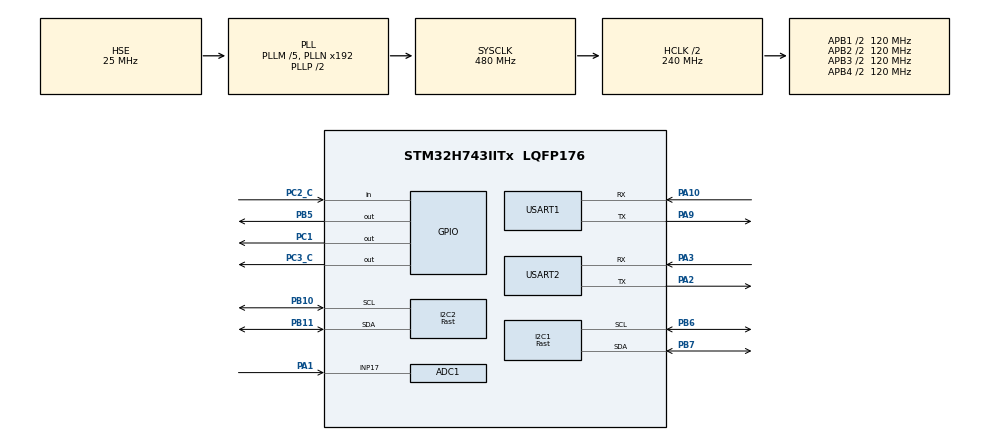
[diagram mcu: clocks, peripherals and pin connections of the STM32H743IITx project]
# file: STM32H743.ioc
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ADC1.Channel-3\#ChannelRegularConversion=ADC_CHANNEL_17
ADC1.ClockPrescaler=ADC_CLOCK_ASYNC_DIV4
ADC1.ContinuousConvMode=ENABLE
ADC1.ConversionDataManagement=ADC_CONVERSIONDATA_DMA_CIRCULAR
ADC1.NbrOfConversionFlag=1
ADC1.OffsetNumber-3\#ChannelRegularConversion=ADC_OFFSET_NONE
ADC1.OffsetSignedSaturation-3\#ChannelRegularConversion=DISABLE
ADC1.Overrun=ADC_OVR_DATA_OVERWRITTEN
ADC1.OversamplingMode=DISABLE
ADC1.Rank-3\#ChannelRegularConversion=1
ADC1.Resolution=ADC_RESOLUTION_12B
ADC1.SamplingTime-3\#ChannelRegularConversion=ADC_SAMPLETIME_810CYCLES_5
ADC1.master=1
CORTEX_M7.AccessPermission_S-Cortex_Memory_Protection_Unit_Region1_Settings_S=MPU_REGION_FULL_ACCESS
CORTEX_M7.AccessPermission_S-Cortex_Memory_Protection_Unit_Region2_Settings_S=MPU_REGION_FULL_ACCESS
CORTEX_M7.AccessPermission_S-Cortex_Memory_Protection_Unit_Region4_Settings_S=MPU_REGION_FULL_ACCESS
CORTEX_M7.AccessPermission_S-Cortex_Memory_Protection_Unit_Region5_Settings_S=MPU_REGION_FULL_ACCESS
CORTEX_M7.AccessPermission_S-Cortex_Memory_Protection_Unit_Region6_Settings_S=MPU_REGION_FULL_ACCESS
CORTEX_M7.AccessPermission_Spec=MPU_REGION_FULL_ACCESS
CORTEX_M7.BaseAddress_S-Cortex_Memory_Protection_Unit_Region1_Settings_S=0x24000000
CORTEX_M7.BaseAddress_S-Cortex_Memory_Protection_Unit_Region2_Settings_S=0x30000000
CORTEX_M7.BaseAddress_S-Cortex_Memory_Protection_Unit_Region3_Settings_S=0x38000000
CORTEX_M7.BaseAddress_S-Cortex_Memory_Protection_Unit_Region4_Settings_S=0x60000000
CORTEX_M7.BaseAddress_S-Cortex_Memory_Protection_Unit_Region5_Settings_S=0xC0000000
CORTEX_M7.BaseAddress_S-Cortex_Memory_Protection_Unit_Region6_Settings_S=0x80000000
CORTEX_M7.BaseAddress_Spec=0x20000000
CORTEX_M7.CPU_DCache=Enabled
CORTEX_M7.CPU_ICache=Enabled
CORTEX_M7.DisableExec_Spec=MPU_INSTRUCTION_ACCESS_ENABLE
CORTEX_M7.Enable_S-Cortex_Memory_Protection_Unit_Region1_Settings_S=MPU_REGION_ENABLE
CORTEX_M7.Enable_S-Cortex_Memory_Protection_Unit_Region2_Settings_S=MPU_REGION_ENABLE
CORTEX_M7.Enable_S-Cortex_Memory_Protection_Unit_Region3_Settings_S=MPU_REGION_ENABLE
CORTEX_M7.Enable_S-Cortex_Memory_Protection_Unit_Region4_Settings_S=MPU_REGION_ENABLE
CORTEX_M7.Enable_S-Cortex_Memory_Protection_Unit_Region5_Settings_S=MPU_REGION_ENABLE
CORTEX_M7.Enable_S-Cortex_Memory_Protection_Unit_Region6_Settings_S=MPU_REGION_ENABLE
CORTEX_M7.IsBufferable_S-Cortex_Memory_Protection_Unit_Region2_Settings_S=MPU_ACCESS_BUFFERABLE
CORTEX_M7.IsBufferable_S-Cortex_Memory_Protection_Unit_Region3_Settings_S=MPU_ACCESS_NOT_BUFFERABLE
CORTEX_M7.IsBufferable_S-Cortex_Memory_Protection_Unit_Region5_Settings_S=MPU_ACCESS_BUFFERABLE
CORTEX_M7.IsBufferable_Spec=MPU_ACCESS_BUFFERABLE
CORTEX_M7.IsCacheable_S-Cortex_Memory_Protection_Unit_Region1_Settings_S=MPU_ACCESS_CACHEABLE
CORTEX_M7.IsCacheable_S-Cortex_Memory_Protection_Unit_Region2_Settings_S=MPU_ACCESS_CACHEABLE
CORTEX_M7.IsCacheable_S-Cortex_Memory_Protection_Unit_Region3_Settings_S=MPU_ACCESS_CACHEABLE
CORTEX_M7.IsCacheable_S-Cortex_Memory_Protection_Unit_Region5_Settings_S=MPU_ACCESS_CACHEABLE
CORTEX_M7.IsCacheable_Spec=MPU_ACCESS_CACHEABLE
CORTEX_M7.IsShareable_S-Cortex_Memory_Protection_Unit_Region1_Settings_S=MPU_ACCESS_SHAREABLE
CORTEX_M7.IsShareable_Spec=MPU_ACCESS_NOT_SHAREABLE
CORTEX_M7.MPU_Control=MPU_PRIVILEGED_DEFAULT
CORTEX_M7.Size_S-Cortex_Memory_Protection_Unit_Region1_Settings_S=MPU_REGION_SIZE_512KB
CORTEX_M7.Size_S-Cortex_Memory_Protection_Unit_Region2_Settings_S=MPU_REGION_SIZE_512KB
CORTEX_M7.Size_S-Cortex_Memory_Protection_Unit_Region3_Settings_S=MPU_REGION_SIZE_64KB
CORTEX_M7.Size_S-Cortex_Memory_Protection_Unit_Region4_Settings_S=MPU_REGION_SIZE_256MB
CORTEX_M7.Size_S-Cortex_Memory_Protection_Unit_Region5_Settings_S=MPU_REGION_SIZE_32MB
CORTEX_M7.Size_S-Cortex_Memory_Protection_Unit_Region6_Settings_S=MPU_REGION_SIZE_256MB
CORTEX_M7.Size_Spec=MPU_REGION_SIZE_128KB
CORTEX_M7.SubRegionDisable_Spec=0x0
CORTEX_M7.default_mode_Activation=1
Dma.ADC1.0.Direction=DMA_PERIPH_TO_MEMORY
Dma.ADC1.0.EventEnable=DISABLE
Dma.ADC1.0.FIFOMode=DMA_FIFOMODE_DISABLE
Dma.ADC1.0.Instance=DMA1_Stream0
Dma.ADC1.0.MemDataAlignment=DMA_MDATAALIGN_HALFWORD
Dma.ADC1.0.MemInc=DMA_MINC_ENABLE
Dma.ADC1.0.Mode=DMA_CIRCULAR
Dma.ADC1.0.PeriphDataAlignment=DMA_PDATAALIGN_HALFWORD
Dma.ADC1.0.PeriphInc=DMA_PINC_DISABLE
Dma.ADC1.0.Polarity=HAL_DMAMUX_REQ_GEN_RISING
Dma.ADC1.0.Priority=DMA_PRIORITY_HIGH
Dma.ADC1.0.RequestNumber=1
Dma.ADC1.0.SignalID=NONE
Dma.ADC1.0.SyncEnable=DISABLE
Dma.ADC1.0.SyncPolarity=HAL_DMAMUX_SYNC_NO_EVENT
Dma.ADC1.0.SyncRequestNumber=1
Dma.ADC1.0.SyncSignalID=NONE
Dma.I2C1_RX.1.Direction=DMA_PERIPH_TO_MEMORY
Dma.I2C1_RX.1.EventEnable=DISABLE
Dma.I2C1_RX.1.FIFOMode=DMA_FIFOMODE_DISABLE
Dma.I2C1_RX.1.Instance=DMA1_Stream1
Dma.I2C1_RX.1.MemDataAlignment=DMA_MDATAALIGN_BYTE
Dma.I2C1_RX.1.MemInc=DMA_MINC_ENABLE
Dma.I2C1_RX.1.Mode=DMA_NORMAL
Dma.I2C1_RX.1.PeriphDataAlignment=DMA_PDATAALIGN_BYTE
Dma.I2C1_RX.1.PeriphInc=DMA_PINC_DISABLE
Dma.I2C1_RX.1.Polarity=HAL_DMAMUX_REQ_GEN_RISING
Dma.I2C1_RX.1.Priority=DMA_PRIORITY_MEDIUM
Dma.I2C1_RX.1.RequestNumber=1
Dma.I2C1_RX.1.SignalID=NONE
Dma.I2C1_RX.1.SyncEnable=DISABLE
Dma.I2C1_RX.1.SyncPolarity=HAL_DMAMUX_SYNC_NO_EVENT
Dma.I2C1_RX.1.SyncRequestNumber=1
Dma.I2C1_RX.1.SyncSignalID=NONE
Dma.Request0=ADC1
Dma.Request1=I2C1_RX
FREERTOS.Queues01=MAX30102_Queue,16,uint16_t,0,Dynamic,NULL,NULL
FREERTOS.Tasks01=MPUT6050Task,26,512,MPUT6050_Task,Default,NULL,Dynamic,NULL,NULL;MAX30102_Task,24,512,MAX30102_Tasks,Default,NULL,Dynamic,NULL,NULL;Fusion_Task,25,512,FusionTasks,Default,NULL,Dynamic,NULL,NULL
I2C1.I2C_Speed_Mode=I2C_Fast
I2C1.Timing=0x00B03FDB
I2C2.CustomTiming=Disabled
I2C2.I2C_Speed_Mode=I2C_Fast
I2C2.Timing=0x00B03FDB
Mcu.Family=STM32H7
Mcu.Name=STM32H743IITx
Mcu.Package=LQFP176
NVIC.I2C1_ER_IRQn=true\:5\:0\:false\:false\:true\:true\:true\:true\:true
NVIC.I2C1_EV_IRQn=true\:5\:0\:false\:false\:true\:true\:true\:true\:true
NVIC.PriorityGroup=NVIC_PRIORITYGROUP_4
NVIC.TIM2_IRQn=true\:5\:0\:false\:false\:true\:true\:true\:true\:true
NVIC.TIM6_DAC_IRQn=true\:15\:0\:false\:false\:true\:false\:false\:true\:true
NVIC.TimeBase=TIM6_DAC_IRQn
NVIC.TimeBaseIP=TIM6
PA1.Mode=IN17-Single-Ended
PA1.Signal=ADC1_INP17
PA10.GPIO_ModeDefaultPP=GPIO_MODE_AF_PP
PA10.Mode=Asynchronous
PA10.Signal=USART1_RX
PA13\ (JTMS/SWDIO).Mode=Serial_Wire
PA13\ (JTMS/SWDIO).Signal=DEBUG_JTMS-SWDIO
PA14\ (JTCK/SWCLK).Mode=Serial_Wire
PA14\ (JTCK/SWCLK).Signal=DEBUG_JTCK-SWCLK
PA2.Mode=Asynchronous
PA2.Signal=USART2_TX
PA3.Mode=Asynchronous
PA3.Signal=USART2_RX
PA9.Mode=Asynchronous
PA9.Signal=USART1_TX
PB10.GPIO_Mode=GPIO_MODE_AF_OD
PB10.GPIO_Pu=GPIO_PULLUP
PB10.GPIO_Speed=GPIO_SPEED_FREQ_HIGH
PB10.Mode=I2C
PB10.Signal=I2C2_SCL
PB11.GPIO_Mode=GPIO_MODE_AF_OD
PB11.GPIO_Pu=GPIO_PULLUP
PB11.GPIO_Speed=GPIO_SPEED_FREQ_HIGH
PB11.Mode=I2C
PB11.Signal=I2C2_SDA
PB5.Signal=GPIO_Output
PB6.Mode=I2C
PB6.Signal=I2C1_SCL
PB7.Mode=I2C
PB7.Signal=I2C1_SDA
PC1.Signal=GPIO_Output
PC14-OSC32_IN\ (OSC32_IN).Mode=LSE-External-Oscillator
PC14-OSC32_IN\ (OSC32_IN).Signal=RCC_OSC32_IN
PC15-OSC32_OUT\ (OSC32_OUT).Mode=LSE-External-Oscillator
PC15-OSC32_OUT\ (OSC32_OUT).Signal=RCC_OSC32_OUT
PC2_C.Signal=GPIO_Input
PC3_C.GPIO_Speed=GPIO_SPEED_FREQ_HIGH
PC3_C.PinState=GPIO_PIN_SET
PC3_C.Signal=GPIO_Output
PH0-OSC_IN\ (PH0).Mode=HSE-External-Oscillator
PH0-OSC_IN\ (PH0).Signal=RCC_OSC_IN
PH1-OSC_OUT\ (PH1).Mode=HSE-External-Oscillator
PH1-OSC_OUT\ (PH1).Signal=RCC_OSC_OUT
ProjectManager.HeapSize=0x200
ProjectManager.StackSize=0x400
ProjectManager.TargetToolchain=CMake
RCC.ADCFreq_Value=100000000
RCC.APB1Freq_Value=120000000
RCC.APB2Freq_Value=120000000
RCC.APB3Freq_Value=120000000
RCC.APB4Freq_Value=120000000
RCC.CortexFreq_Value=480000000
RCC.D1PPRE=RCC_APB3_DIV2
RCC.D2PPRE1=RCC_APB1_DIV2
RCC.D2PPRE2=RCC_APB2_DIV2
RCC.D3PPRE=RCC_APB4_DIV2
RCC.DIVM1=5
RCC.DIVM2=5
RCC.DIVN1=192
RCC.DIVN2=60
RCC.DIVP2=3
RCC.HCLKFreq_Value=240000000
RCC.HPRE=RCC_HCLK_DIV2
RCC.PLLSourceVirtual=RCC_PLLSOURCE_HSE
RCC.SYSCLKFreq_VALUE=480000000
RCC.SYSCLKSource=RCC_SYSCLKSOURCE_PLLCLK
RCC.USBFreq_Value=480000000
TIM2.Period=999
TIM2.Prescaler=39999
USART1.VirtualMode-Asynchronous=VM_ASYNC
USART2.VirtualMode-Asynchronous=VM_ASYNC
VP_FREERTOS_VS_CMSIS_V2.Mode=CMSIS_V2
VP_MEMORYMAP_VS_MEMORYMAP.Mode=CurAppReg
VP_SYS_VS_tim6.Mode=TIM6
VP_TIM2_VS_ClockSourceINT.Mode=Internal
board=custom

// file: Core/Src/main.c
/* USER CODE BEGIN Header */
/**
  ******************************************************************************
  * @file           : main.c
  * @brief          : Main program body
  ******************************************************************************
  * @attention
  *
  * Copyright (c) 2025 STMicroelectronics.
  * All rights reserved.
  *
  * This software is licensed under terms that can be found in the LICENSE file
  * in the root directory of this software component.
  * If no LICENSE file comes with this software, it is provided AS-IS.
  *
  ******************************************************************************
  */
/* USER CODE END Header */
#include "main.h"
#include "cmsis_os.h"
#include "adc.h"
#include "dma.h"
#include "i2c.h"
#include "tim.h"
#include "usart.h"
#include "gpio.h"

/* USER CODE BEGIN Includes */
#include "MPU6050.h"
#include "MAX30102.h"
#include <stdlib.h>
#include "stdio.h"
#include <string.h>
/* USER CODE END Includes */

/* USER CODE BEGIN PM */
extern I2C_HandleTypeDef hi2c1;
/* USER CODE END PM */

/* USER CODE BEGIN PV */
// 使用AXI SRAM的绝对地址 - DMA2可以访问的区域
// #define AXI_SRAM_BASE 0x24000000
// volatile uint16_t *adc_buffer = (volatile uint16_t*)AXI_SRAM_BASE;
MAX30102_Data_t max30102_data;
int32_t heart_rate = 0;
int32_t spo2 = 0;
int8_t hr_valid = 0;
int8_t spo2_valid = 0;
char uart_buffer[32];

int _write(int file, char *ptr, int len)
{
    (void)file;
    HAL_UART_Transmit(&huart1, (uint8_t*)ptr, len, HAL_MAX_DELAY);
    return len;
}
/* USER CODE END PV */

void SystemClock_Config(void);
static void MPU_Config(void);
void MX_FREERTOS_Init(void);
/* USER CODE BEGIN PFP */
// 增强版心率滤波
/* USER CODE BEGIN PFP */
// 心率滤波函数（支持运动/静息模式）
// int32_t simple_hr_with_exercise(int32_t raw_hr)
// {
//     static int32_t smoothed = 85;
//     static int32_t last_hr = 85;
//     static uint8_t exercise_mode = 0;

//     // 有效性检查
//     if(raw_hr < 50 || raw_hr > 180) return smoothed;

//     // 检测是否在运动（心率持续高于100）
//     static uint8_t high_hr_count = 0;
//     if(raw_hr > 110)
//     {
//         high_hr_count++;
//         if(high_hr_count > 6)  // 持续高心率
//         {
//             exercise_mode = 1;
//         }
//     }
//     else
//     {
//         high_hr_count = 0;
//         if(raw_hr < 90)  // 低心率持续
//         {
//             exercise_mode = 0;
//         }
//     }

//     // 根据模式选择滤波强度
//     if(exercise_mode)
//     {
//         // 运动模式：弱滤波，快速响应 (alpha=0.75)
//         smoothed = (raw_hr * 3 + smoothed) / 4;
//     }
//     else
//     {
//         // 静息模式：强滤波，稳定 (alpha=0.125)
//         smoothed = (raw_hr + smoothed * 7) / 8;
//     }

//     last_hr = raw_hr;
//     return smoothed;
// }

// // 血氧滤波函数
// int32_t spo2_filter(int32_t raw_spo2)
// {
//     static int32_t smoothed = 98;

//     // 有效性检查
//     if(raw_spo2 < 70 || raw_spo2 > 100) return smoothed;

//     // 强滤波保持稳定 (alpha=0.2)
//     smoothed = (raw_spo2 + smoothed * 4) / 5;

//     return smoothed;
// }

// // 信号质量检测
// uint8_t check_signal_quality(uint32_t *ir_data, uint16_t count)
// {
//     if(count < 10) return 0;

//     // 检查最近10个点的变化
//     uint32_t min_val = 0xFFFFFFFF;
//     uint32_t max_val = 0;

//     int start_idx = (count > 10) ? (count - 10) : 0;

//     for(int i = start_idx; i < count; i++)
//     {
//         if(ir_data[i] < min_val) min_val = ir_data[i];
//         if(ir_data[i] > max_val) max_val = ir_data[i];
//     }

//     uint32_t amplitude = max_val - min_val;

//     // 如果信号变化太小，认为没有手指
//     if(amplitude < 50)
//     {
//         return 0;  // 信号差
//     }

//     return 1;  // 信号好
// }
/* USER CODE END PFP */

int main(void)
{

  /* MPU Configuration--------------------------------------------------------*/
  MPU_Config();

  /* Enable the CPU Cache */

  /* Enable I-Cache---------------------------------------------------------*/
  SCB_EnableICache();

  /* Enable D-Cache---------------------------------------------------------*/
  SCB_EnableDCache();

  /* MCU Configuration--------------------------------------------------------*/

  /* Reset of all peripherals, Initializes the Flash interface and the Systick. */
  HAL_Init();

  /* Configure the system clock */
  SystemClock_Config();

  /* Initialize all configured peripherals */
  MX_GPIO_Init();
  MX_DMA_Init();
  MX_I2C2_Init();
  MX_ADC1_Init();
  MX_USART1_UART_Init();
  MX_TIM2_Init();
  MX_USART2_UART_Init();
  MX_I2C1_Init();
  /* USER CODE BEGIN 2 */
   printf("MAX30102 心率血氧监测开始...\r\n");

    /* MAX30102初始化 */
    MAX30102_Init(&hi2c1);
    MAX30102_InitData(&max30102_data);

    printf("传感器初始化完成\r\n");
  // printf("=== H7 ADC DMA测试（AXI SRAM绝对地址）===\r\n");
  // printf("缓冲区地址: 0x%08lX\r\n", (unsigned long)adc_buffer);

  // // 验证地址是否正确在AXI SRAM域
  // uint32_t addr = (uint32_t)adc_buffer;
  // if(addr >= 0x24000000 && addr < 0x24080000) {
  //     printf("✅ 缓冲区在AXI SRAM域，DMA2可以访问\r\n");
  // } else {
  //     printf("❌ 缓冲区地址错误！\r\n");
  //     Error_Handler();
  // }

  // // 初始化缓冲区
  // *adc_buffer = 0xAAAA;  // 设置初始值用于测试
  // printf("初始缓冲区值: 0x%04X\r\n", (unsigned int)*adc_buffer);

  // // 清理AXI SRAM域缓存
  // SCB_CleanDCache_by_Addr((uint32_t*)adc_buffer, sizeof(uint16_t));

  // // 重置为0
  // *adc_buffer = 0;

  // // 执行H7 ADC校准
  // printf("执行ADC校准...\r\n");
  // if(HAL_ADCEx_Calibration_Start(&hadc1, ADC_CALIB_OFFSET_LINEARITY, ADC_SINGLE_ENDED) != HAL_OK) {
  //     printf("ADC校准失败\r\n");
  // } else {
  //     printf("ADC校准成功\r\n");
  // }

  // // 启动DMA
  // printf("启动DMA...\r\n");
  // if(HAL_ADC_Start_DMA(&hadc1, (uint32_t*)adc_buffer, 1) != HAL_OK) {
  //     printf("DMA启动失败\r\n");
  //     Error_Handler();
  // } else {
  //     printf("DMA启动成功\r\n");
  // }

  // // 测试读取
  // printf("测试读取ADC值...\r\n");
  // for(int i = 0; i < 5; i++) {
  //     HAL_Delay(5);
  //     SCB_CleanDCache_by_Addr((uint32_t*)adc_buffer, sizeof(uint16_t));
  //     printf("测试 %d: %u (0x%04X)\r\n", i+1, (unsigned int)*adc_buffer, (unsigned int)*adc_buffer);
  // }
  // printf("开始连续监测...\r\n");
  /* USER CODE END 2 */

  /* Init scheduler */
  osKernelInitialize();  /* Call init function for freertos objects (in cmsis_os2.c) */
  MX_FREERTOS_Init();

  /* Start scheduler */
  osKernelStart();

  /* We should never get here as control is now taken by the scheduler */

  /* Infinite loop */
  while (1)
  {

  }
}

void SystemClock_Config(void)
{
  RCC_OscInitTypeDef RCC_OscInitStruct = {0};
  RCC_ClkInitTypeDef RCC_ClkInitStruct = {0};

  /** Supply configuration update enable
  */
  HAL_PWREx_ConfigSupply(PWR_LDO_SUPPLY);

  /** Configure the main internal regulator output voltage
  */
  __HAL_PWR_VOLTAGESCALING_CONFIG(PWR_REGULATOR_VOLTAGE_SCALE0);

  while(!__HAL_PWR_GET_FLAG(PWR_FLAG_VOSRDY)) {}

  /** Initializes the RCC Oscillators according to the specified parameters
  * in the RCC_OscInitTypeDef structure.
  */
  RCC_OscInitStruct.OscillatorType = RCC_OSCILLATORTYPE_HSE;
  RCC_OscInitStruct.HSEState = RCC_HSE_ON;
  RCC_OscInitStruct.PLL.PLLState = RCC_PLL_ON;
  RCC_OscInitStruct.PLL.PLLSource = RCC_PLLSOURCE_HSE;
  RCC_OscInitStruct.PLL.PLLM = 5;
  RCC_OscInitStruct.PLL.PLLN = 192;
  RCC_OscInitStruct.PLL.PLLP = 2;
  RCC_OscInitStruct.PLL.PLLQ = 2;
  RCC_OscInitStruct.PLL.PLLR = 2;
  RCC_OscInitStruct.PLL.PLLRGE = RCC_PLL1VCIRANGE_2;
  RCC_OscInitStruct.PLL.PLLVCOSEL = RCC_PLL1VCOWIDE;
  RCC_OscInitStruct.PLL.PLLFRACN = 0;
  if (HAL_RCC_OscConfig(&RCC_OscInitStruct) != HAL_OK)
  {
    Error_Handler();
  }

  /** Initializes the CPU, AHB and APB buses clocks
  */
  RCC_ClkInitStruct.ClockType = RCC_CLOCKTYPE_HCLK|RCC_CLOCKTYPE_SYSCLK
                              |RCC_CLOCKTYPE_PCLK1|RCC_CLOCKTYPE_PCLK2
                              |RCC_CLOCKTYPE_D3PCLK1|RCC_CLOCKTYPE_D1PCLK1;
  RCC_ClkInitStruct.SYSCLKSource = RCC_SYSCLKSOURCE_PLLCLK;
  RCC_ClkInitStruct.SYSCLKDivider = RCC_SYSCLK_DIV1;
  RCC_ClkInitStruct.AHBCLKDivider = RCC_HCLK_DIV2;
  RCC_ClkInitStruct.APB3CLKDivider = RCC_APB3_DIV2;
  RCC_ClkInitStruct.APB1CLKDivider = RCC_APB1_DIV2;
  RCC_ClkInitStruct.APB2CLKDivider = RCC_APB2_DIV2;
  RCC_ClkInitStruct.APB4CLKDivider = RCC_APB4_DIV2;

  if (HAL_RCC_ClockConfig(&RCC_ClkInitStruct, FLASH_LATENCY_4) != HAL_OK)
  {
    Error_Handler();
  }
}

 /* MPU Configuration */

void MPU_Config(void)
{
  MPU_Region_InitTypeDef MPU_InitStruct = {0};

  /* Disables the MPU */
  HAL_MPU_Disable();

  /** Initializes and configures the Region and the memory to be protected
  */
  MPU_InitStruct.Enable = MPU_REGION_ENABLE;
  MPU_InitStruct.Number = MPU_REGION_NUMBER0;
  MPU_InitStruct.BaseAddress = 0x20000000;
  MPU_InitStruct.Size = MPU_REGION_SIZE_128KB;
  MPU_InitStruct.SubRegionDisable = 0x0;
  MPU_InitStruct.TypeExtField = MPU_TEX_LEVEL0;
  MPU_InitStruct.AccessPermission = MPU_REGION_FULL_ACCESS;
  MPU_InitStruct.DisableExec = MPU_INSTRUCTION_ACCESS_ENABLE;
  MPU_InitStruct.IsShareable = MPU_ACCESS_NOT_SHAREABLE;
  MPU_InitStruct.IsCacheable = MPU_ACCESS_CACHEABLE;
  MPU_InitStruct.IsBufferable = MPU_ACCESS_BUFFERABLE;

  HAL_MPU_ConfigRegion(&MPU_InitStruct);

  /** Initializes and configures the Region and the memory to be protected
  */
  MPU_InitStruct.Number = MPU_REGION_NUMBER1;
  MPU_InitStruct.BaseAddress = 0x24000000;
  MPU_InitStruct.Size = MPU_REGION_SIZE_512KB;
  MPU_InitStruct.IsShareable = MPU_ACCESS_SHAREABLE;
  MPU_InitStruct.IsBufferable = MPU_ACCESS_NOT_BUFFERABLE;

  HAL_MPU_ConfigRegion(&MPU_InitStruct);

  /** Initializes and configures the Region and the memory to be protected
  */
  MPU_InitStruct.Number = MPU_REGION_NUMBER2;
  MPU_InitStruct.BaseAddress = 0x30000000;
  MPU_InitStruct.IsShareable = MPU_ACCESS_NOT_SHAREABLE;
  MPU_InitStruct.IsBufferable = MPU_ACCESS_BUFFERABLE;

  HAL_MPU_ConfigRegion(&MPU_InitStruct);

  /** Initializes and configures the Region and the memory to be protected
  */
  MPU_InitStruct.Number = MPU_REGION_NUMBER3;
  MPU_InitStruct.BaseAddress = 0x38000000;
  MPU_InitStruct.Size = MPU_REGION_SIZE_64KB;
  MPU_InitStruct.AccessPermission = MPU_REGION_NO_ACCESS;
  MPU_InitStruct.IsBufferable = MPU_ACCESS_NOT_BUFFERABLE;

  HAL_MPU_ConfigRegion(&MPU_InitStruct);

  /** Initializes and configures the Region and the memory to be protected
  */
  MPU_InitStruct.Number = MPU_REGION_NUMBER4;
  MPU_InitStruct.BaseAddress = 0x60000000;
  MPU_InitStruct.Size = MPU_REGION_SIZE_256MB;
  MPU_InitStruct.AccessPermission = MPU_REGION_FULL_ACCESS;
  MPU_InitStruct.IsCacheable = MPU_ACCESS_NOT_CACHEABLE;

  HAL_MPU_ConfigRegion(&MPU_InitStruct);

  /** Initializes and configures the Region and the memory to be protected
  */
  MPU_InitStruct.Number = MPU_REGION_NUMBER5;
  MPU_InitStruct.BaseAddress = 0xC0000000;
  MPU_InitStruct.Size = MPU_REGION_SIZE_32MB;
  MPU_InitStruct.IsCacheable = MPU_ACCESS_CACHEABLE;
  MPU_InitStruct.IsBufferable = MPU_ACCESS_BUFFERABLE;

  HAL_MPU_ConfigRegion(&MPU_InitStruct);

  /** Initializes and configures the Region and the memory to be protected
  */
  MPU_InitStruct.Number = MPU_REGION_NUMBER6;
  MPU_InitStruct.BaseAddress = 0x80000000;
  MPU_InitStruct.Size = MPU_REGION_SIZE_256MB;
  MPU_InitStruct.IsCacheable = MPU_ACCESS_NOT_CACHEABLE;
  MPU_InitStruct.IsBufferable = MPU_ACCESS_NOT_BUFFERABLE;

  HAL_MPU_ConfigRegion(&MPU_InitStruct);
  /* Enables the MPU */
  HAL_MPU_Enable(MPU_PRIVILEGED_DEFAULT);

}

void HAL_TIM_PeriodElapsedCallback(TIM_HandleTypeDef *htim)
{
  if (htim->Instance == TIM6)
  {
    HAL_IncTick();
  }
}

void Error_Handler(void)
{
  __disable_irq();
  while (1)
  {
  }
}
#ifdef USE_FULL_ASSERT
/**
  * @brief  Reports the name of the source file and the source line number
  *         where the assert_param error has occurred.
  * @param  file: pointer to the source file name
  * @param  line: assert_param error line source number
  * @retval None
  */
void assert_failed(uint8_t *file, uint32_t line)
{
  /* USER CODE BEGIN 6 */
  printf("Assert failed: file %s on line %lu\r\n", file, (unsigned long)line);
  /* USER CODE END 6 */
}
#endif /* USE_FULL_ASSERT */

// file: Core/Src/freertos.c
/* USER CODE BEGIN Header */
/* USER CODE END Header */

#include "FreeRTOS.h"
#include "task.h"
#include "main.h"
#include "cmsis_os.h"

/* USER CODE BEGIN PTD */
extern UART_HandleTypeDef huart1;
/* USER CODE END PTD */

/* USER CODE BEGIN Variables */
osThreadId_t ADCDMATaskHandle;
const osThreadAttr_t ADCDMATask_attributes = {
  .name = "ADCDMATask",
  .stack_size = 512 * 4,
  .priority = (osPriority_t) osPriorityNormal2,
};
/* USER CODE END Variables */
/* Definitions for MPUT6050Task */
osThreadId_t MPUT6050TaskHandle;
const osThreadAttr_t MPUT6050Task_attributes = {
  .name = "MPUT6050Task",
  .stack_size = 512 * 4,
  .priority = (osPriority_t) osPriorityNormal2,
};
/* Definitions for MAX30102_Task */
osThreadId_t MAX30102_TaskHandle;
const osThreadAttr_t MAX30102_Task_attributes = {
  .name = "MAX30102_Task",
  .stack_size = 512 * 4,
  .priority = (osPriority_t) osPriorityNormal1,
};
/* Definitions for Fusion_Task */
osThreadId_t Fusion_TaskHandle;
const osThreadAttr_t Fusion_Task_attributes = {
  .name = "Fusion_Task",
  .stack_size = 512 * 4,
  .priority = (osPriority_t) osPriorityNormal,
};
/* Definitions for MAX30102_Queue */
osMessageQueueId_t MAX30102_QueueHandle;
const osMessageQueueAttr_t MAX30102_Queue_attributes = {
  .name = "MAX30102_Queue"
};

/* USER CODE BEGIN FunctionPrototypes */
void MAX30102_Tasks(void *argument);
/* USER CODE END FunctionPrototypes */

void MPUT6050_Task(void *argument);
void MAX30102_Tasks(void *argument);
void FusionTasks(void *argument);

void MX_FREERTOS_Init(void); /* (MISRA C 2004 rule 8.1) */

void MX_FREERTOS_Init(void) {

  /* USER CODE BEGIN RTOS_TIMERS */
  //要注意队列如果是结构体创建时要注意如sizeof(HeartRateData_t)/
  /* USER CODE END RTOS_TIMERS */

  /* Create the queue(s) */
  /* creation of MAX30102_Queue */

  /* USER CODE BEGIN RTOS_QUEUES */
   // MAX30102_QueueHandle = osMessageQueueNew (16,sizeof(HeartRateData_t), &MAX30102_Queue_attributes);
     //要注意队列如果是结构体创建时要注意如sizeof(HeartRateData_t)

  /* USER CODE END RTOS_QUEUES */

  /* Create the thread(s) */
  /* creation of MPUT6050Task */
 // MPUT6050TaskHandle = osThreadNew(MPUT6050_Task, NULL, &MPUT6050Task_attributes);

  /* creation of MAX30102_Task */
  //MAX30102_TaskHandle = osThreadNew(MAX30102_Tasks, NULL, &MAX30102_Task_attributes);

  /* creation of Fusion_Task */
 //Fusion_TaskHandle = osThreadNew(FusionTasks, NULL, &Fusion_Task_attributes);

  /* USER CODE BEGIN RTOS_THREADS */
  ADCDMATaskHandle = osThreadNew(ADC_DMA_Task, NULL, &ADCDMATask_attributes);
  /* USER CODE END RTOS_THREADS */

}

void MPUT6050_Task(void *argument)
{
  /* USER CODE BEGIN MPUT6050_Task */
  /* Infinite loop */
  MPU6050_AutoInit(&huart1);

  SensorData_t sensor_data;

  for(;;)
  {
    // 生产
    MPU6050_ReadAndEnqueue();

    // 每200ms显示
    // static uint32_t timer = 0;
    // if (HAL_GetTick() - timer >= 200) {
    //     // 取数据
    //     while (MPU6050_Queue_Pop(&sensor_queue, &sensor_data)) {
    //         // 取最新的
    //     }

    //     // 显示（这里和以前完全一样）
    //     printf("Acc: X:%7.3fg Y:%7.3fg Z:%7.3fg | Gyro: X:%7.2f Y:%7.2f Z:%7.2f\r\n",
    //            sensor_data.accel_g[0], sensor_data.accel_g[1], sensor_data.accel_g[2],
    //            sensor_data.gyro_dps[0], sensor_data.gyro_dps[1], sensor_data.gyro_dps[2]);

    //     timer = HAL_GetTick();
    // }

    vTaskDelay(1);
  }
  /* USER CODE END MPUT6050_Task */
}
